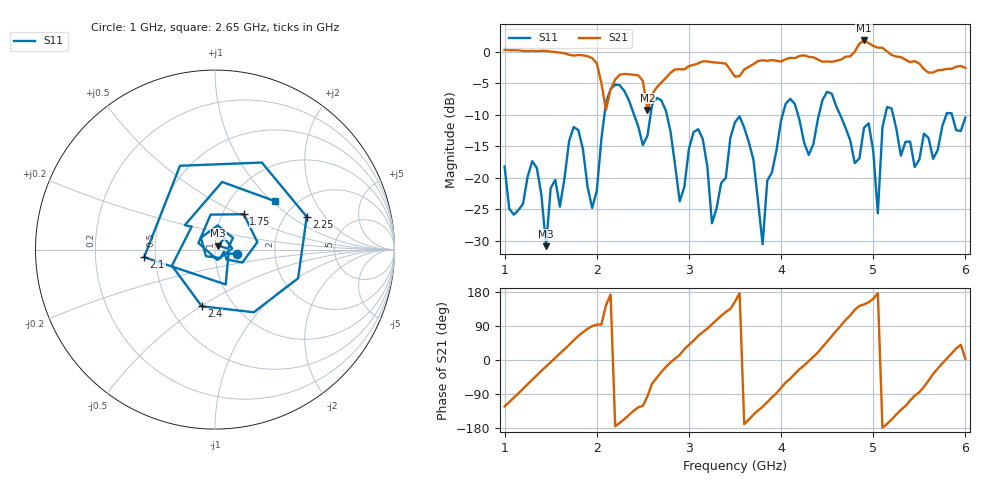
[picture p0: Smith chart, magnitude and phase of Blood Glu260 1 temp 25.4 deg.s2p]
! NanoVNA-App
! Date: 2024-03-21 02:16:17
! Start: 1GHz Stop: 6GHz Points: 101
! S-Parameter data: F S11 S21 S12 S22
# Hz S RI R 50
!	Frequency	S11_Real	S11_Imag	S21_Real	S21_Imag	S12_Real	S12_Imag	S22_Real	S22_Imag
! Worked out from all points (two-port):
!   101 points, 1 GHz to 6 GHz, reference 50 ohm
!   highest |S21| = 1.82 dB at 4.9 GHz (marker M1); lowest = -9.2 dB at 2.55 GHz (marker M2)
!   |S21| within 3 dB of the highest: start of sweep to 1.962 GHz; 4.654 GHz to 5.342 GHz (688.9 MHz wide, 13.8 % of centre) (the widest 2 of 3)
!   lowest |S11| = -30.8 dB at 1.45 GHz (marker M3), VSWR 1.06, Z = 51.7 + j2.35 ohm
!   |S11| at or under -10 dB: start of sweep to 2.083 GHz; 2.76 GHz to 4.016 GHz (1.256 GHz wide, 37.1 % of centre); 5.216 GHz to 5.793 GHz (576.5 MHz wide, 10.5 % of centre) (the widest 3 of 7)
!   S12 and S22 are empty: the file has one direction only
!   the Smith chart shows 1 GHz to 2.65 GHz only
!   S11 on the Smith chart (normalised r, x): 1 GHz: 1.27, -0.06; 1.75 GHz: 1.26, +0.53; 2.1 GHz: 0.43, -0.04; 2.25 GHz: 2.59, +1.34; 2.4 GHz: 0.71, -0.50; 2.65 GHz: 1.59, +1.05
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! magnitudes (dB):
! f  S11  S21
! 1 GHz  -18.2  0.3
! 1.45 GHz  -30.8  0.2
! 1.75 GHz  -11.9  -0.6
! 1.85 GHz  -15.4  -0.5
! 1.95 GHz  -24.8  -1.0
! 2.1 GHz  -8.0  -9.2
! 2.25 GHz  -5.3  -3.6
! 2.4 GHz  -9.8  -3.6
! 2.55 GHz  -13.3  -9.2
! 2.65 GHz  -7.3  -5.6
! 2.7 GHz  -7.7  -4.9
! 2.9 GHz  -23.7  -2.7
! 3.15 GHz  -13.8  -1.5
! 3.25 GHz  -27.2  -1.6
! 3.5 GHz  -11.1  -3.9
! 3.8 GHz  -30.5  -1.3
! 4.05 GHz  -8.2  -1.2
! 4.35 GHz  -14.7  -0.9
! 4.9 GHz  -12.0  1.8
! 5.05 GHz  -25.6  0.7
! 5.2 GHz  -9.0  -0.5
! 6 GHz  -10.4  -2.6
